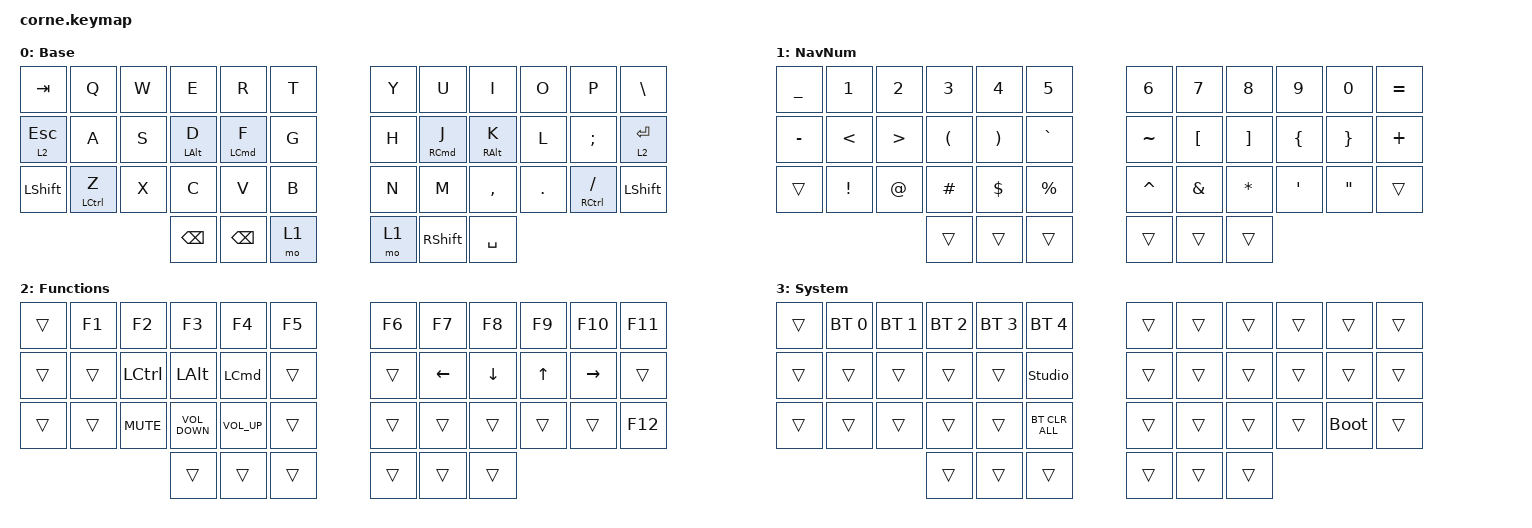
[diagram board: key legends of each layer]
#include <behaviors.dtsi>
#include <dt-bindings/zmk/bt.h>
#include <dt-bindings/zmk/keys.h>

#define DEF 0
#define NAV 1
#define SYM 2
#define ADJ 3
#define EXTRA 4

/ {
    behaviors {
        hm: homerow_mods {
            compatible = "zmk,behavior-hold-tap";
            label = "HOMEROW_MODS";
            #binding-cells = <2>;
            tapping-term-ms = <200>;
            quick_tap_ms = <0>;
            flavor = "tap-preferred";
            bindings = <&kp>, <&kp>;

            quick-tap-ms = <180>;
            global-quick-tap;
        };

        para: para {
            compatible = "zmk,behavior-tap-dance";
            label = "PARA";
            #binding-cells = <0>;
            bindings = <&kp LEFT_PARENTHESIS>, <&kp RIGHT_PARENTHESIS>;
        };

        caps: caps {
            compatible = "zmk,behavior-caps-word";
            label = "CAPS";
            #binding-cells = <0>;
            continue-list = <MINUS BACKSPACE>;
        };

        paraless: paraless {
            compatible = "zmk,behavior-mod-morph";
            label = "PARALESS";
            bindings = <&kp LEFT_PARENTHESIS>, <&kp LESS_THAN>;

            #binding-cells = <0>;
            mods = <(MOD_LSFT)>;
        };

        paragreat: paragreat {
            compatible = "zmk,behavior-mod-morph";
            label = "PARAGREAT";
            bindings = <&kp RIGHT_PARENTHESIS>, <&kp GREATER_THAN>;

            #binding-cells = <0>;
            mods = <(MOD_LSFT)>;
        };
    };

    macros {
        browsertab: browsertab {
            compatible = "zmk,behavior-macro";
            #binding-cells = <0>;
            bindings =
                <&macro_press>,
                <&kp LCTRL>,
                <&macro_tap>,
                <&kp TAB>,
                <&macro_release>,
                <&kp LCTRL>;
        };
    };

    combos { compatible = "zmk,combos"; };

    //

    keymap {
        compatible = "zmk,keymap";

        Base {
            display-name = "Base";

            // -----------------------------------------------------------------------------------------
            // |  Q  |  W  |  E  |  R  |  T  |   |  Y  |  U   |  I  |  O  |  P  |
            // |  A  |  S  |  D  |  F  |  G  |   |  H  |  J   |  K  |  L  |  ;  |
            // |  Z  |  X  |  C  |  V  |  B  |   |  N  |  M   |  ,  |  .  |  /  |
            // | GUI | CTRL | SHFT | LWR | SPC |   | ENT | RSE  | BKSP | ALT | ESC |

            bindings = <
&kp TAB         &kp Q        &kp W  &kp E           &kp R               &kp T    &kp Y  &kp U                &kp I            &kp O    &kp P                    &kp BACKSLASH
&lt 2 ESCAPE    &kp A        &kp S  &hm LEFT_ALT D  &hm LEFT_COMMAND F  &kp G    &kp H  &hm RIGHT_COMMAND J  &hm RIGHT_ALT K  &kp L    &kp SEMI                 &lt 2 ENTER
&kp LEFT_SHIFT  &hm LCTRL Z  &kp X  &kp C           &kp V               &kp B    &kp N  &kp M                &kp COMMA        &kp DOT  &hm RIGHT_CONTROL SLASH  &kp LEFT_SHIFT
                                    &kp BACKSPACE   &kp BACKSPACE       &mo 1    &mo 1  &kp RIGHT_SHIFT      &kp SPACE
            >;
        };

        NumSym {
            display-name = "NavNum";

            // -----------------------------------------------------------------------------------------
            // |  TAB |  1  |  2  |  3  |  4  |  5  |   |  6  |  7  |  8  |  9  |  0  | BKSP |
            // | BTCLR| BT1 | BT2 | BT3 | BT4 | BT5 |   | LFT | DWN |  UP | RGT |     |      |
            // | SHFT |     |     |     |     |     |   |     |     |     |     |     |      |
            // | GUI | CTRL | SHFT | LWR | SPC |   | ENT | RSE  | BKSP | ALT | ESC |

            bindings = <
&kp UNDER  &kp N1           &kp N2            &kp N3                &kp N4                 &kp N5         &kp N6     &kp N7            &kp N8             &kp N9            &kp N0             &kp EQUAL
&kp MINUS  &kp LESS_THAN    &kp GREATER_THAN  &kp LEFT_PARENTHESIS  &kp RIGHT_PARENTHESIS  &kp GRAVE      &kp TILDE  &kp LEFT_BRACKET  &kp RIGHT_BRACKET  &kp LEFT_BRACE    &kp RIGHT_BRACE    &kp PLUS
&trans     &kp EXCLAMATION  &kp AT_SIGN       &kp HASH              &kp DOLLAR             &kp PERCENT    &kp CARET  &kp AMPERSAND     &kp ASTERISK       &kp SINGLE_QUOTE  &kp DOUBLE_QUOTES  &trans
                                              &trans                &trans                 &trans         &trans     &trans            &trans
            >;
        };

        Functions {
            display-name = "Functions";
            bindings = <
&trans  &kp F1  &kp F2            &kp F3             &kp F4            &kp F5    &kp F6  &kp F7    &kp F8    &kp F9  &kp F10    &kp F11
&trans  &trans  &kp LEFT_CONTROL  &kp LEFT_ALT       &kp LEFT_COMMAND  &trans    &trans  &kp LEFT  &kp DOWN  &kp UP  &kp RIGHT  &trans
&trans  &trans  &kp C_MUTE        &kp C_VOLUME_DOWN  &kp C_VOLUME_UP   &trans    &trans  &trans    &trans    &trans  &trans     &kp F12
                                  &trans             &trans            &trans    &trans  &trans    &trans
            >;
        };

        System {
            display-name = "System";
            bindings = <
&trans  &bt BT_SEL 0  &bt BT_SEL 1  &bt BT_SEL 2  &bt BT_SEL 3  &bt BT_SEL 4      &trans  &trans  &trans  &trans  &trans       &trans
&trans  &trans        &trans        &trans        &trans        &studio_unlock    &trans  &trans  &trans  &trans  &trans       &trans
&trans  &trans        &trans        &trans        &trans        &bt BT_CLR_ALL    &trans  &trans  &trans  &trans  &bootloader  &trans
                                    &trans        &trans        &trans            &trans  &trans  &trans
            >;
        };
    };

    conditional_layers {
        compatible = "zmk,conditional-layers";

        to_system_layer {
            if-layers = <1 2>;
            then-layer = <3>;
        };
    };
};
